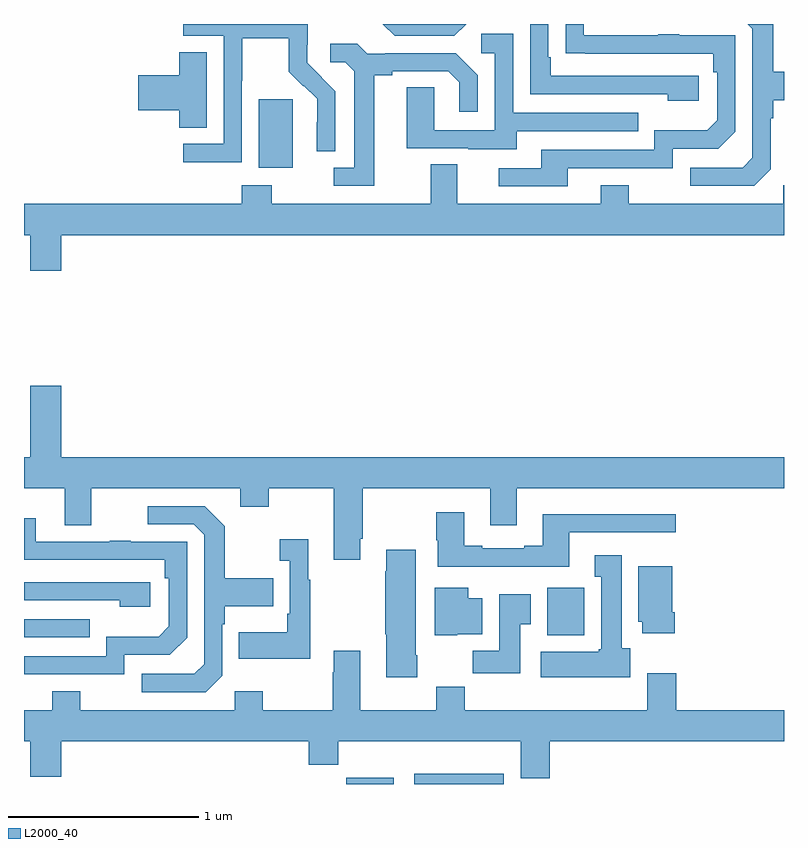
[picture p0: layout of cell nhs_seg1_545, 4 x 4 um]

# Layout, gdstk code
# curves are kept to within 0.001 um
import gdstk
lib = gdstk.Library(unit=1e-6, precision=1e-09)
def R(c, l, rs):  # rectangles x0, y0, x1, y1
    for r in rs: c.add(gdstk.rectangle(r[:2], r[2:], *l))
def P(c, l, *ps):  # polygons
    for p in ps: c.add(gdstk.Polygon(p, *l))
L2000_40 = (2000, 40)

nhs_seg1_545 = lib.new_cell('nhs_seg1_545')
R(nhs_seg1_545, L2000_40, [(142.696,526.199,142.945,526.231), (143.055,526.199,143.524,526.252), (141,526.971,141.347,527.067), (143.753,526.982,143.949,527.233), (142.235,529.442,142.414,529.803)])
P(nhs_seg1_545, L2000_40, [(143.863,529.44),(144.414,529.44),(144.414,529.542),(144.654,529.542),(144.744,529.632),(144.744,530.139),(144.449,530.139),(144.449,530.144),(144.337,530.144),(144.337,530.139),(143.947,530.139),(143.947,530.199),(143.851,530.199),(143.851,530.044),(144.628,530.043),(144.628,529.946),(144.648,529.946),(144.648,529.692),(144.595,529.639),(144.318,529.639),(144.318,529.536),(143.723,529.536),(143.723,529.44),(143.499,529.44),(143.499,529.344),(143.863,529.344)],
  [(144.93,529.434),(144.93,529.703),(144.943,529.703),(144.943,529.799),(145,529.799),(145,529.947),(144.943,529.947),(144.943,530.199),(144.81,530.199),(144.834,530.175),(144.834,529.494),(144.783,529.443),(144.507,529.443),(144.507,529.347),(144.843,529.347)],
  [(142.146,529.9),(142.149,529.9),(142.149,530.124),(142.393,530.124),(142.393,529.949),(142.47,529.872),(142.473,529.875),(142.544,529.805),(142.544,529.682),(142.542,529.682),(142.542,529.528),(142.638,529.528),(142.638,529.846),(142.492,529.994),(142.492,530.091),(142.494,530.091),(142.494,530.199),(141.837,530.199),(141.837,530.136),(142.05,530.136),(142.05,529.569),(141.837,529.569),(141.837,529.471),(142.146,529.471)],
  [(143.328,530.199),(142.887,530.199),(142.95,530.136),(143.265,530.136)],
  [(144.55,529.926),(143.773,529.926),(143.773,530.023),(143.76,530.023),(143.76,530.199),(143.664,530.199),(143.664,529.83),(144.389,529.83),(144.389,529.796),(144.55,529.796)],
  [(143.593,529.635),(144.233,529.635),(144.233,529.731),(143.574,529.731),(143.574,530.147),(143.406,530.147),(143.406,530.046),(143.478,530.046),(143.478,529.641),(143.16,529.641),(143.16,529.865),(143.015,529.865),(143.015,529.545),(143.339,529.545),(143.339,529.541),(143.593,529.541)],
  [(142.843,529.928),(142.939,529.928),(142.939,529.95),(143.234,529.95),(143.291,529.893),(143.291,529.737),(143.388,529.737),(143.388,529.93),(143.272,530.046),(142.9,530.046),(142.9,530.043),(142.806,530.043),(142.754,530.095),(142.611,530.095),(142.611,529.998),(142.692,529.998),(142.739,529.951),(142.739,529.443),(142.629,529.443),(142.629,529.347),(142.843,529.347)],
  [(141.961,530.051),(141.818,530.051),(141.818,529.928),(141.6,529.928),(141.6,529.745),(141.818,529.745),(141.818,529.654),(141.961,529.654)],
  [(141.196,529.088),(145,529.088),(145,529.351),(144.996,529.351),(144.996,529.252),(144.183,529.252),(144.183,529.351),(144.035,529.351),(144.035,529.252),(143.281,529.252),(143.281,529.46),(143.141,529.46),(143.141,529.252),(142.305,529.252),(142.305,529.351),(142.145,529.351),(142.145,529.252),(141,529.252),(141,529.088),(141.032,529.088),(141.032,528.9),(141.196,528.9)],
  [(142.771,527.491),(142.784,527.491),(142.784,527.756),(143.453,527.756),(143.453,527.562),(143.593,527.562),(143.593,527.756),(145,527.756),(145,527.92),(141.196,527.92),(141.196,528.295),(141.032,528.295),(141.032,527.92),(141,527.92),(141,527.756),(141.215,527.756),(141.215,527.562),(141.355,527.562),(141.355,527.756),(142.139,527.756),(142.139,527.657),(142.287,527.657),(142.287,527.756),(142.631,527.756),(142.631,527.379),(142.771,527.379)],
  [(142.044,526.77),(142.044,527.039),(142.057,527.039),(142.057,527.135),(142.313,527.135),(142.313,527.283),(142.057,527.283),(142.057,527.555),(141.951,527.661),(141.651,527.661),(141.651,527.565),(141.894,527.565),(141.948,527.511),(141.948,526.83),(141.897,526.779),(141.621,526.779),(141.621,526.683),(141.957,526.683)],
  [(143.869,527.523),(144.43,527.523),(144.43,527.62),(143.729,527.62),(143.729,527.452),(143.633,527.452),(143.633,527.439),(143.413,527.439),(143.413,527.452),(143.317,527.452),(143.317,527.629),(143.17,527.629),(143.17,527.481),(143.177,527.481),(143.177,527.342),(143.869,527.342)],
  [(141.528,526.878),(141.768,526.878),(141.858,526.968),(141.858,527.475),(141.563,527.475),(141.563,527.48),(141.451,527.48),(141.451,527.475),(141.061,527.475),(141.061,527.599),(141,527.599),(141,527.38),(141.742,527.379),(141.742,527.282),(141.762,527.282),(141.762,527.028),(141.709,526.975),(141.432,526.975),(141.432,526.872),(141,526.872),(141,526.776),(141.528,526.776)],
  [(142.507,527.275),(142.495,527.275),(142.495,527.488),(142.347,527.488),(142.347,527.375),(142.398,527.375),(142.398,527.095),(142.386,527.095),(142.386,526.999),(142.129,526.999),(142.129,526.859),(142.507,526.859)],
  [(143.07,526.876),(143.062,526.876),(143.062,527.431),(142.907,527.431),(142.907,527.318),(142.9,527.318),(142.9,526.987),(142.907,526.987),(142.907,526.76),(143.07,526.76)],
  [(144.19,526.914),(144.145,526.914),(144.145,527.404),(144.005,527.404),(144.005,527.291),(144.038,527.291),(144.038,526.908),(144.025,526.908),(144.025,526.894),(143.721,526.894),(143.721,526.76),(144.19,526.76)],
  [(144.425,527.104),(144.412,527.104),(144.412,527.344),(144.233,527.344),(144.233,527.052),(144.254,527.052),(144.254,526.992),(144.425,526.992)],
  [(141.664,527.262),(141,527.262),(141,527.166),(141.503,527.166),(141.503,527.132),(141.664,527.132)],
  [(143.28,526.988),(143.413,526.988),(143.413,527.176),(143.338,527.176),(143.338,527.233),(143.162,527.233),(143.162,526.982),(143.28,526.982)],
  [(143.611,527.041),(143.668,527.041),(143.668,527.197),(143.501,527.197),(143.501,526.9),(143.362,526.9),(143.362,526.782),(143.611,526.782)],
  [(143.615,526.23),(143.768,526.23),(143.768,526.424),(145,526.424),(145,526.588),(144.434,526.588),(144.434,526.783),(144.281,526.783),(144.281,526.588),(143.321,526.588),(143.321,526.712),(143.17,526.712),(143.17,526.588),(142.771,526.588),(142.771,526.9),(142.631,526.9),(142.631,526.787),(142.624,526.787),(142.624,526.588),(142.257,526.588),(142.257,526.687),(142.11,526.687),(142.11,526.588),(141.297,526.588),(141.297,526.687),(141.149,526.687),(141.149,526.588),(141,526.588),(141,526.424),(141.032,526.424),(141.032,526.236),(141.196,526.236),(141.196,526.424),(142.499,526.424),(142.499,526.3),(142.655,526.3),(142.655,526.424),(143.615,526.424)])

lib.write_gds('nhs_seg1_545.gds')
